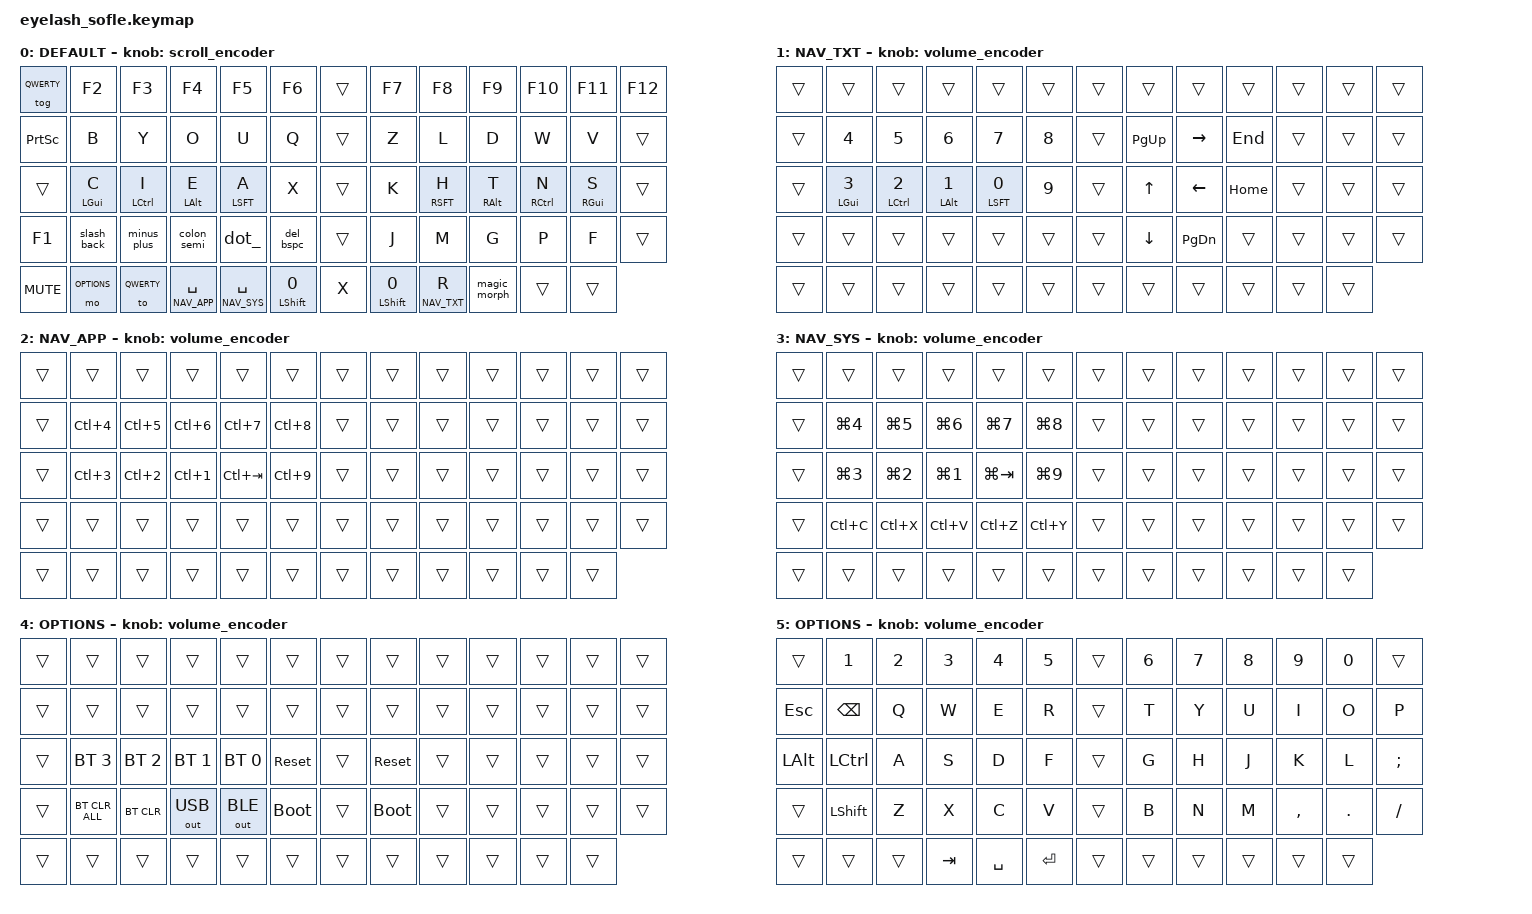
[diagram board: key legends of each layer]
#include <input/processors.dtsi>
#include <zephyr/dt-bindings/input/input-event-codes.h>
#include <behaviors.dtsi>
#include <dt-bindings/zmk/bt.h>
#include <dt-bindings/zmk/ext_power.h>
#include <dt-bindings/zmk/keys.h>
#include <dt-bindings/zmk/rgb.h>
#include <dt-bindings/zmk/outputs.h>

#define ZMK_HELPER_KEEP_NATIVE 0
#include "zmk-helpers/helper.h"
#include "joystick.dtsi"

#include "eyelash_sofle_keydefs.dtsi" // Extra key definitions following urob's setup

// - Defaults -

    #define DEFAULT 0
    #define NAV_TXT 1
    #define NAV_APP 2
    #define NAV_SYS 3
    #define OPTIONS 4
    #define QWERTY 5

    #define QUICK_TAP_MS 175
    &sk {
        release-after-ms = <900>;
        quick-release;
    };
    &sl { // Allow sticky mods to chord across sticky layers.
        ignore-modifiers;
    };
    &lt {
        flavor = "balanced";
        tapping-term-ms = <200>;
        quick-tap-ms = <QUICK_TAP_MS>;
    };
    &mt {
        flavor = "tap-preferred";
        tapping-term-ms = <220>;
        quick-tap-ms = <220>;
        hold-trigger-key-positions = <0>;
    };
    &caps_word {
        continue-list = <UNDERSCORE MINUS>;
    };
    &key_repeat {
        usage-pages = <HID_USAGE_KEY HID_USAGE_CONSUMER>;
    };

// - Setup Definitions -
// TODO: spc shift, nav combos for app nav, no magic

    // Hardcoded, on updating the keymap, the sides have to be adjusted accordingly
    #define LEFT_CHARS B Y O U Q C I E A Z
    #define LEFT_SYMBS SLASH BACKSLASH MINUS UNDERSCORE COMMA ASTERISK DOT DOUBLE_QUOTES CARET DOLLAR AMPERSAND SEMICOLON HASH AT_SIGN QUESTION PIPE EXCLAMATION PERCENT EQUAL ESCAPE
    #define RIGHT_CHARS J L D W V K H T N S X M G P F
    #define RIGHT_SYMBS TILDE COLON LEFT_BRACKET LESS_THAN SINGLE_QUOTE GRAVE PLUS LEFT_PARENTHESIS LEFT_BRACE RIGHT_BRACKET GREATER_THAN RIGHT_PARENTHESIS RIGHT_BRACE
    #define NUM_CHARS N0 N1 N2 N3 N4 N5 N6 N7 N8 N9
    #define ADAPTIVE_RESET 1200
    #define COMBO_TERM_FAST 30
    #define COMBO_TERM_SLOW 250
    #define COMBO_IDLE_FAST 30
    #define COMBO_IDLE_SLOW 150
    #define SHIFT_MORPH(NAME, BINDING1, BINDING2) \
        ZMK_MOD_MORPH(NAME, bindings = <BINDING1>, <BINDING2>; mods = <(MOD_LSFT|MOD_RSFT)>;)
    #define SHIFT_MORPH_COMBO(NAME, BINDING1, BINDING2, POSITION) \
        SHIFT_MORPH(NAME##_morph, BINDING1, BINDING2) \
        ZMK_COMBO(NAME, &NAME##_morph, POSITION, DEFAULT NAV_TXT, COMBO_TERM_SLOW, COMBO_IDLE_FAST)

    #define MAKE_HRM(NAME, HOLD, TAP, TRIGGER_POS)                                  \
        ZMK_HOLD_TAP( NAME, bindings = <HOLD>, <TAP>; flavor = "balanced";          \
                        tapping-term-ms = <200>; quick-tap-ms = <QUICK_TAP_MS>;     \
                        require-prior-idle-ms = <150>;                              \
                        hold-trigger-key-positions = <TRIGGER_POS>;                 \
                        hold-trigger-on-release;                                    \
                    )
    #define MAKE_HMT(NAME, HOLD, TAP) \
        MAKE_HRM(NAME, HOLD, TAP, KEYS_R KEYS_L KEYS_T)
    MAKE_HRM(hml, &kp, &kp, KEYS_R LB0 KEYS_T) // Left-hand HRMs, same hand mod+key for del_bspc
    MAKE_HRM(hmr, &kp, &kp, KEYS_L KEYS_T) // Right-hand HRMs
    MAKE_HRM(hmt, &mo, &kp, KEYS_R KEYS_L KEYS_T) // Tap mod, hold key

// - Layers -

    #define NUM_WORD &num_word NAV_TXT
        ZMK_AUTO_LAYER(num_word, continue-list = <NUM_CHARS SLASH MINUS COMMA DOT>; ignore-modifiers;)

    #define SPC_NAV_SYS &hmt NAV_SYS SPACE

    #define LAY_NAV_APP &hmt NAV_APP SPACE

    #define RUNE_L &hm_rune_l LSHIFT 0
        ZMK_MOD_MORPH(rune_l, bindings = <&sk LSHIFT>, <NUM_WORD>; mods = <(MOD_LSFT|MOD_RSFT)>;)
        MAKE_HRM(hm_rune_l, &kp, &rune_l, KEYS_R KEYS_L KEYS_T_R) // Tap mod, hold runic left

    SHIFT_MORPH_COMBO( spc_sft_morph, &spc_sft, &num_word_sft, LH1 LH0 )
    ZMK_MACRO(spc_sft, bindings = <&kp SPACE &sk LSHIFT>; wait-ms = <0>; tap-ms = <5>;)
    ZMK_MACRO(num_word_sft, bindings = <NUM_WORD &sk LSHIFT>; wait-ms = <0>; tap-ms = <5>;)
    
    #define R_NAV_TXT &hmt NAV_TXT R
    #define RUNE_R &hm_rune_r LSHIFT 0
        ZMK_ADAPTIVE_KEY(shift_repeat, bindings = <&key_repeat>;
            spc_sft {bindings = <&sk LSHIFT>; trigger-keys = <SPACE>; max-prior-idle-ms = <ADAPTIVE_RESET>;};
        )
        ZMK_MOD_MORPH(rune_r, bindings = <&shift_repeat>, <&shift_repeat>; mods = <(MOD_LSFT|MOD_RSFT)>;)
        MAKE_HRM(hm_rune_r, &kp, &rune_r, KEYS_R KEYS_L KEYS_T_L) // Tap key, hold runic right

    SHIFT_MORPH_COMBO(repeat_r_morph, &repeat_r, &repeat_r, RH0 RH1 )
    ZMK_ADAPTIVE_KEY(repeat_r, bindings = <&double_r>;
        tab_tab_r {bindings = <&tab_r>; trigger-keys = <TAB>; max-prior-idle-ms = <ADAPTIVE_RESET>;};
    )
    ZMK_MACRO(double_r, bindings = <&kp R &kp R>; wait-ms = <0>; tap-ms = <5>;)
    ZMK_MACRO(tab_r, bindings = <&kp TAB &kp R>; wait-ms = <0>; tap-ms = <5>;)
    
    #define MAGIC &magic_morph
        ZMK_MOD_MORPH(magic_morph, bindings = <&magic>, <&magic>; mods = <(MOD_LSFT|MOD_RSFT)>;) // no magic_shifted added
        ZMK_ADAPTIVE_KEY(magic, bindings = <&sk LSHIFT>;
            // Alpha SFBs
            r_repeat {bindings = <&kp R>; trigger-keys = <R>; max-prior-idle-ms = <ADAPTIVE_RESET>;};
            bc {bindings = <&kp C>; trigger-keys = <B>; max-prior-idle-ms = <ADAPTIVE_RESET>;}; 
            cb {bindings = <&kp B>; trigger-keys = <C>; max-prior-idle-ms = <ADAPTIVE_RESET>;}; 
            yi {bindings = <&kp I>; trigger-keys = <Y>; max-prior-idle-ms = <ADAPTIVE_RESET>;}; 
            iy {bindings = <&kp Y>; trigger-keys = <I>; max-prior-idle-ms = <ADAPTIVE_RESET>;}; 
            oe {bindings = <&kp E>; trigger-keys = <O>; max-prior-idle-ms = <ADAPTIVE_RESET>;}; 
            eo {bindings = <&kp O>; trigger-keys = <E>; max-prior-idle-ms = <ADAPTIVE_RESET>;}; 
            au {bindings = <&kp U>; trigger-keys = <A>; max-prior-idle-ms = <ADAPTIVE_RESET>;}; 
            ua {bindings = <&kp A>; trigger-keys = <U>; max-prior-idle-ms = <ADAPTIVE_RESET>;}; 
            qu {bindings = <&kp U>; trigger-keys = <Q>; max-prior-idle-ms = <ADAPTIVE_RESET>;}; 
            za {bindings = <&kp A>; trigger-keys = <Z>; max-prior-idle-ms = <ADAPTIVE_RESET>;}; 
            kl {bindings = <&kp L>; trigger-keys = <K>; max-prior-idle-ms = <ADAPTIVE_RESET>;}; 
            hm {bindings = <&kp M>; trigger-keys = <H>; max-prior-idle-ms = <ADAPTIVE_RESET>;}; 
            lk {bindings = <&kp K>; trigger-keys = <L>; max-prior-idle-ms = <ADAPTIVE_RESET>;}; 
            ml {bindings = <&kp L>; trigger-keys = <M>; max-prior-idle-ms = <ADAPTIVE_RESET>;}; 
            jk {bindings = <&kp K>; trigger-keys = <J>; max-prior-idle-ms = <ADAPTIVE_RESET>;}; 
            xm {bindings = <&kp M>; trigger-keys = <X>; max-prior-idle-ms = <ADAPTIVE_RESET>;}; 
            dg {bindings = <&kp G>; trigger-keys = <D>; max-prior-idle-ms = <ADAPTIVE_RESET>;}; 
            gt {bindings = <&kp T>; trigger-keys = <G>; max-prior-idle-ms = <ADAPTIVE_RESET>;}; 
            td {bindings = <&kp D>; trigger-keys = <T>; max-prior-idle-ms = <ADAPTIVE_RESET>;}; 
            np {bindings = <&kp P>; trigger-keys = <N>; max-prior-idle-ms = <ADAPTIVE_RESET>;}; 
            pn {bindings = <&kp N>; trigger-keys = <P>; max-prior-idle-ms = <ADAPTIVE_RESET>;}; 
            wn {bindings = <&kp N>; trigger-keys = <W>; max-prior-idle-ms = <ADAPTIVE_RESET>;}; 
            sf {bindings = <&kp F>; trigger-keys = <S>; max-prior-idle-ms = <ADAPTIVE_RESET>;}; 
            fs {bindings = <&kp S>; trigger-keys = <F>; max-prior-idle-ms = <ADAPTIVE_RESET>;}; 
            vs {bindings = <&kp S>; trigger-keys = <V>; max-prior-idle-ms = <ADAPTIVE_RESET>;}; 
            dot_spc_sft {bindings = <&sk LSHIFT>; trigger-keys = <DOT>; max-prior-idle-ms = <ADAPTIVE_RESET>;};
            quote_n {bindings = <&kp N>; trigger-keys = <SINGLE_QUOTE>; max-prior-idle-ms = <ADAPTIVE_RESET>;};
            greater_parenthesis {bindings = <&parenthesis>; trigger-keys = <GREATER_THAN>; max-prior-idle-ms = <ADAPTIVE_RESET>;};
            colon_enter {bindings = <&kp ENTER>; trigger-keys = <COLON>; max-prior-idle-ms = <ADAPTIVE_RESET>;};
            equal_parenthesis {bindings = <&paran_brace_morph>; trigger-keys = <EQUAL>; max-prior-idle-ms = <ADAPTIVE_RESET>;};
        )
        ZMK_MOD_MORPH(paran_brace_morph, bindings = <&parenthesis>, <&braces>; mods = <(MOD_LSFT|MOD_RSFT)>;)
        ZMK_MACRO(parenthesis, bindings = <&kp SPACE &kp LEFT_PARENTHESIS>; wait-ms = <0>; tap-ms = <5>;)
        ZMK_MACRO(braces, bindings = <&kp SPACE &kp LEFT_BRACE>; wait-ms = <0>; tap-ms = <5>;)

        // instead of magic shifted, have morphs for the functionality
        // ZMK_ADAPTIVE_KEY(magic_shifted, bindings = <&magic>;
        //     equal_braces {bindings = <&braces>; trigger-keys = <EQUAL>; max-prior-idle-ms = <ADAPTIVE_RESET>;};
        //     greater_braces {bindings = <&braces>; trigger-keys = <GREATER_THAN>; max-prior-idle-ms = <ADAPTIVE_RESET>;};
        // )

    SHIFT_MORPH_COMBO(spc_sft_morph, &magic_r, &magic_r, RH1 RH2 )
    ZMK_MACRO(magic_r, bindings = <&magic &kp R>; wait-ms = <0>; tap-ms = <5>;) // not 2-way

// - Symbols -

    ZMK_MOD_MORPH(del_bspc, bindings = <&kp DELETE>, <&kp BACKSPACE>; mods = <(MOD_LSFT|MOD_RSFT)>;)

    ZMK_COMBO(tab,    &kp TAB,    LB2 LB1,     DEFAULT, COMBO_TERM_SLOW, COMBO_IDLE_FAST)
    ZMK_COMBO(enter,  &kp ENTER,  LB3 LB2,     DEFAULT, COMBO_TERM_SLOW, COMBO_IDLE_FAST)

    ZMK_MACRO(ent_tab_macro, bindings = <&kp ENTER &kp TAB>; wait-ms = <0>; tap-ms = <5>;)
    ZMK_COMBO(ent_tab, &ent_tab_macro, LB3 LB2 LB1, DEFAULT, COMBO_TERM_SLOW, COMBO_IDLE_FAST)

    // LEFT-HAND SYMBOLS --- NOTE: WHEN UPDATING ALSO UPDATE ADAPTIVE KEYS SIDES
    SHIFT_MORPH(        colon_semi,         &kp COLON,               &kp SEMICOLON       )
    SHIFT_MORPH(        slash_back,         &kp SLASH,               &kp BACKSLASH      )
    SHIFT_MORPH(        minus_plus,         &kp MINUS,               &kp PLUS     )
    SHIFT_MORPH(        dot_,               &kp DOT,                 &kp DOT            )
    SHIFT_MORPH_COMBO(  dquotes_caret,      &kp DOUBLE_QUOTES,       &kp CARET,         LT3 LM3 )
    SHIFT_MORPH_COMBO(  dollar_amp,         &kp DOLLAR,              &kp AMPERSAND,     LT2 LM2 )
    SHIFT_MORPH_COMBO(  commas,             &kp COMMA,               &kp COMMA,         LT1 LM1 )
    SHIFT_MORPH_COMBO(  hash_tilde,         &kp HASH,                &kp TILDE,         LT0 LM0 )
    SHIFT_MORPH_COMBO(  question_pipe,      &kp UNDERSCORE,          &kp PIPE,          LM3 LB3 )
    SHIFT_MORPH_COMBO(  asterisks,          &kp ASTERISK,            &kp ASTERISK,      LM2 LB2 )
    SHIFT_MORPH_COMBO(  excl_question,      &kp EXCLAMATION,         &kp QUESTION,      LM1 LB1 )
    SHIFT_MORPH_COMBO(  esc_,               &kp ESCAPE,              &kp ESCAPE,        LM0 LB0 )

    // RIGHT-HAND COMBOS
    SHIFT_MORPH_COMBO(  perc_at,            &kp PERCENT,             &kp AT_SIGN,       RT0 RM0 )
    SHIFT_MORPH_COMBO(  lpar_lbrc,          &kp LEFT_PARENTHESIS,    &kp LEFT_BRACE,    RT1 RM1 )
    SHIFT_MORPH_COMBO(  rpar_rbrc,          &kp RIGHT_PARENTHESIS,   &kp RIGHT_BRACE,   RT2 RM2 )
    SHIFT_MORPH_COMBO(  squote_grave,       &kp SINGLE_QUOTE,        &kp GRAVE,         RT3 RM3 )
    SHIFT_MORPH_COMBO(  plus,               &kp PLUS,                &kp PLUS,          RM0 RB0 ) // TODO: leader key
    SHIFT_MORPH_COMBO(  eq_eq,              &kp EQUAL,               &kp EQUAL,         RM1 RB1 )
    SHIFT_MORPH_COMBO(  lbrc_lt,            &kp LEFT_BRACKET,        &kp LESS_THAN,     RM2 RB2 )
    SHIFT_MORPH_COMBO(  rbrc_gt,            &kp RIGHT_BRACKET,       &kp GREATER_THAN,  RM3 RB3 )

    // START: Added Macros for LGUI+Scroll
    ZMK_MACRO(lgui_scroll_up,
        bindings = <&macro_press &kp LGUI>,   // Press LGUI
                   <&macro_tap &msc SCRL_UP>,   // Tap Scroll Up
                   <&macro_release &kp LGUI>; // Release LGUI
    )
    ZMK_MACRO(lgui_scroll_down,
        bindings = <&macro_press &kp LGUI>,   // Press LGUI
                   <&macro_tap &msc SCRL_DOWN>, // Tap Scroll Down
                   <&macro_release &kp LGUI>; // Release LGUI
    )

/ {

    behaviours {
        num_temp: num_temp {compatible = "zmk,behavior-auto-layer"; #binding-cells = <1>; continue-list = <LEFT DOWN UP RIGHT PG_DN PG_UP>; ignore-modifiers; };
        scroll_encoder: scroll_encoder {compatible = "zmk,behavior-sensor-rotate"; #sensor-binding-cells = <0>; bindings = <&kp K_SCROLL_UP>, <&kp K_SCROLL_DOWN>; };
        volume_encoder: volume_encoder {compatible = "zmk,behavior-sensor-rotate"; #sensor-binding-cells = <0>; bindings = <&kp C_VOL_UP>, <&kp C_VOL_DN>; };
        rgb_br_encoder: rgb_br_encoder {compatible = "zmk,behavior-sensor-rotate"; #sensor-binding-cells = <0>; bindings = <&rgb_ug RGB_BRD>, <&rgb_ug RGB_BRI>; };
        zoom_encoder: zoom_encoder {compatible = "zmk,behavior-sensor-rotate"; #sensor-binding-cells = <0>; bindings = <&kp LC(MINUS)>, <&kp LC(PLUS)>; };
        nav_encoder: nav_encoder {compatible = "zmk,behavior-sensor-rotate"; #sensor-binding-cells = <0>; bindings = <&lgui_scroll_down>, <&lgui_scroll_up>; };
    };

    keymap { compatible = "zmk,keymap";

        DEFAULT { sensor-bindings = <&scroll_encoder>; display-name = "DEFAULT"; bindings = <
//╭─────────────┬─────────────┬─────────────┬─────────────┬─────────────┬─────────────╮          ╭─────────────┬─────────────┬─────────────┬─────────────┬─────────────┬─────────────╮
    &tog QWERTY   &kp F2        &kp F3        &kp F4        &kp F5        &kp F6        &trans     &kp F7        &kp F8        &kp F9        &kp F10       &kp F11       &kp F12
//├─────────────┼─────────────┼─────────────┼─────────────┼─────────────┼─────────────┤          ├─────────────┼─────────────┼─────────────┼─────────────┼─────────────┼─────────────┤
    &kp PSCRN     &kp B         &kp Y         &kp O         &kp U         &kp Q         &trans     &kp Z         &kp L         &kp D         &kp W         &kp V         &trans
//├─────────────┼─────────────┼─────────────┼─────────────┼─────────────┼─────────────┤          ├─────────────┼─────────────┼─────────────┼─────────────┼─────────────┼─────────────┤
    &trans        &hml LGUI C   &hml LCTL I   &hml LALT E   &hml LSFT A   &kp X         &trans     &kp K         &hmr RSFT H   &hmr RALT T   &hmr RCTL N   &hmr RGUI S   &trans
//├─────────────┼─────────────┼─────────────┼─────────────┼─────────────┼─────────────┤          ├─────────────┼─────────────┼─────────────┼─────────────┼─────────────┼─────────────┤
    &kp F1        &slash_back   &minus_plus   &colon_semi   &dot_         &del_bspc     &trans     &kp J         &kp M         &kp G         &kp P         &kp F         &trans
//╰─────────────┼─────────────┼─────────────┼─────────────┼─────────────┼─────────────┤          ├─────────────┼─────────────┼─────────────┼─────────────┼─────────────┼─────────────╯
    &kp C_MUTE    &mo OPTIONS   &to QWERTY    LAY_NAV_APP   SPC_NAV_SYS   RUNE_L        &kp X      RUNE_R        R_NAV_TXT     MAGIC         &trans        &trans
//              ╰─────────────┴─────────────┴─────────────┴─────────────┴─────────────╯          ╰─────────────┴─────────────┴─────────────┴─────────────┴─────────────╯
        >;};

        NAV_TXT { sensor-bindings = <&volume_encoder>; display-name = "NAV_TXT"; bindings = <
//╭─────────────┬─────────────┬─────────────┬─────────────┬─────────────┬─────────────╮          ╭─────────────┬─────────────┬─────────────┬─────────────┬─────────────┬─────────────╮
    &trans        &trans        &trans        &trans        &trans        &trans        &trans     &trans        &trans        &trans        &trans        &trans        &trans
//├─────────────┼─────────────┼─────────────┼─────────────┼─────────────┼─────────────┤          ├─────────────┼─────────────┼─────────────┼─────────────┼─────────────┼─────────────┤
    &trans        &kp N4        &kp N5        &kp N6        &kp N7        &kp N8        &trans     &kp PG_UP     &kp RIGHT     &kp END       &trans        &trans        &trans       
//├─────────────┼─────────────┼─────────────┼─────────────┼─────────────┼─────────────┤          ├─────────────┼─────────────┼─────────────┼─────────────┼─────────────┼─────────────┤
    &trans        &hml LGUI N3  &hml LCTL N2  &hml LALT N1  &hml LSFT N0  &kp N9        &trans     &kp UP        &kp LEFT      &kp HOME      &trans        &trans        &trans
//├─────────────┼─────────────┼─────────────┼─────────────┼─────────────┼─────────────┤          ├─────────────┼─────────────┼─────────────┼─────────────┼─────────────┼─────────────┤
    &trans        &trans        &trans        &trans        &trans        &trans        &trans     &kp DOWN      &kp PG_DN     &trans        &trans        &trans        &trans
//╰─────────────┼─────────────┼─────────────┼─────────────┼─────────────┼─────────────┤          ├─────────────┼─────────────┼─────────────┼─────────────┼─────────────┼─────────────╯
    &trans        &trans        &trans        &trans        &trans        &trans        &trans     &trans        &trans        &trans        &trans        &trans
//              ╰─────────────┴─────────────┴─────────────┴─────────────┴─────────────╯          ╰─────────────┴─────────────┴─────────────┴─────────────┴─────────────╯
        >;};

        NAV_APP { sensor-bindings = <&volume_encoder>; display-name = "NAV_APP"; bindings = <
//╭─────────────┬─────────────┬─────────────┬─────────────┬─────────────┬─────────────╮        ╭─────────────┬─────────────┬─────────────┬─────────────┬─────────────┬─────────────╮
    &trans        &trans        &trans        &trans        &trans        &trans        &trans   &trans        &trans        &trans        &trans        &trans        &trans
//├─────────────┼─────────────┼─────────────┼─────────────┼─────────────┼─────────────┤        ├─────────────┼─────────────┼─────────────┼─────────────┼─────────────┼─────────────┤
    &trans        &kp LC(N4)    &kp LC(N5)    &kp LC(N6)    &kp LC(N7)    &kp LC(N8)    &trans   &trans        &trans        &trans        &trans        &trans        &trans
//├─────────────┼─────────────┼─────────────┼─────────────┼─────────────┼─────────────┤        ├─────────────┼─────────────┼─────────────┼─────────────┼─────────────┼─────────────┤
    &trans        &kp LC(N3)    &kp LC(N2)    &kp LC(N1)    &kp LC(TAB)   &kp LC(N9)    &trans   &trans        &trans        &trans        &trans        &trans        &trans
//├─────────────┼─────────────┼─────────────┼─────────────┼─────────────┼─────────────┤        ├─────────────┼─────────────┼─────────────┼─────────────┼─────────────┼─────────────┤
    &trans        &trans        &trans        &trans        &trans        &trans        &trans   &trans        &trans        &trans        &trans        &trans        &trans
//╰─────────────┼─────────────┼─────────────┼─────────────┼─────────────┼─────────────┤        ├─────────────┼─────────────┼─────────────┼─────────────┼─────────────┼─────────────╯
    &trans        &trans        &trans        &trans        &trans        &trans        &trans   &trans        &trans        &trans        &trans        &trans
//              ╰─────────────┴─────────────┴─────────────┴─────────────┴─────────────╯        ╰─────────────┴─────────────┴─────────────┴─────────────┴─────────────╯
        >;};

        NAV_SYS { sensor-bindings = <&volume_encoder>; display-name = "NAV_SYS"; bindings = <
//╭─────────────┬─────────────┬─────────────┬─────────────┬─────────────┬─────────────╮        ╭─────────────┬─────────────┬─────────────┬─────────────┬─────────────┬─────────────╮
    &trans        &trans        &trans        &trans        &trans        &trans        &trans   &trans        &trans        &trans        &trans        &trans        &trans
//├─────────────┼─────────────┼─────────────┼─────────────┼─────────────┼─────────────┤        ├─────────────┼─────────────┼─────────────┼─────────────┼─────────────┼─────────────┤
    &trans        &kp LG(N4)    &kp LG(N5)    &kp LG(N6)    &kp LG(N7)    &kp LG(N8)    &trans   &trans        &trans        &trans        &trans        &trans        &trans
//├─────────────┼─────────────┼─────────────┼─────────────┼─────────────┼─────────────┤        ├─────────────┼─────────────┼─────────────┼─────────────┼─────────────┼─────────────┤
    &trans        &kp LG(N3)    &kp LG(N2)    &kp LG(N1)    &kp LG(TAB)   &kp LG(N9)    &trans   &trans        &trans        &trans        &trans        &trans        &trans
//├─────────────┼─────────────┼─────────────┼─────────────┼─────────────┼─────────────┤        ├─────────────┼─────────────┼─────────────┼─────────────┼─────────────┼─────────────┤
    &trans        &kp LC(C)     &kp LC(X)     &kp LC(V)     &kp LC(Z)     &kp LC(Y)     &trans   &trans        &trans        &trans        &trans        &trans        &trans
//╰─────────────┼─────────────┼─────────────┼─────────────┼─────────────┼─────────────┤        ├─────────────┼─────────────┼─────────────┼─────────────┼─────────────┼─────────────╯
    &trans        &trans        &trans        &trans        &trans        &trans        &trans   &trans        &trans        &trans        &trans        &trans
//              ╰─────────────┴─────────────┴─────────────┴─────────────┴─────────────╯        ╰─────────────┴─────────────┴─────────────┴─────────────┴─────────────╯
        >;};

        OPTIONS { sensor-bindings = <&volume_encoder>; display-name = "OPTIONS"; bindings = <
//╭─────────────┬─────────────┬─────────────┬─────────────┬─────────────┬─────────────╮        ╭─────────────┬─────────────┬─────────────┬─────────────┬─────────────┬─────────────╮
    &trans        &trans        &trans        &trans        &trans        &trans        &trans   &trans        &trans        &trans        &trans        &trans        &trans
//├─────────────┼─────────────┼─────────────┼─────────────┼─────────────┼─────────────┤        ├─────────────┼─────────────┼─────────────┼─────────────┼─────────────┼─────────────┤
    &trans        &trans        &trans        &trans        &trans        &trans        &trans   &trans        &trans        &trans        &trans        &trans        &trans
//├─────────────┼─────────────┼─────────────┼─────────────┼─────────────┼─────────────┤        ├─────────────┼─────────────┼─────────────┼─────────────┼─────────────┼─────────────┤
    &trans        &bt BT_SEL 3  &bt BT_SEL 2  &bt BT_SEL 1  &bt BT_SEL 0  &sys_reset    &trans   &sys_reset    &trans        &trans        &trans        &trans        &trans
//├─────────────┼─────────────┼─────────────┼─────────────┼─────────────┼─────────────┤        ├─────────────┼─────────────┼─────────────┼─────────────┼─────────────┼─────────────┤
    &trans       &bt BT_CLR_ALL &bt BT_CLR    &out OUT_USB  &out OUT_BLE  &bootloader   &trans   &bootloader   &trans        &trans        &trans        &trans        &trans
//╰─────────────┼─────────────┼─────────────┼─────────────┼─────────────┼─────────────┤        ├─────────────┼─────────────┼─────────────┼─────────────┼─────────────┼─────────────╯
    &trans        &trans        &trans        &trans        &trans        &trans        &trans   &trans        &trans        &trans        &trans        &trans
//              ╰─────────────┴─────────────┴─────────────┴─────────────┴─────────────╯        ╰─────────────┴─────────────┴─────────────┴─────────────┴─────────────╯
        >;};

        QWERTY { sensor-bindings = <&volume_encoder>; display-name = "OPTIONS"; bindings = <
//╭─────────────┬─────────────┬─────────────┬─────────────┬─────────────┬─────────────╮        ╭─────────────┬─────────────┬─────────────┬─────────────┬─────────────┬─────────────╮
    &trans        &kp N1        &kp N2        &kp N3        &kp N4        &kp N5        &trans   &kp N6        &kp N7        &kp N8        &kp N9        &kp N0        &trans
//├─────────────┼─────────────┼─────────────┼─────────────┼─────────────┼─────────────┤        ├─────────────┼─────────────┼─────────────┼─────────────┼─────────────┼─────────────┤
    &kp ESCAPE    &kp BSPC      &kp Q         &kp W         &kp E         &kp R         &trans   &kp T         &kp Y         &kp U         &kp I         &kp O         &kp P        
//├─────────────┼─────────────┼─────────────┼─────────────┼─────────────┼─────────────┤        ├─────────────┼─────────────┼─────────────┼─────────────┼─────────────┼─────────────┤
    &kp LALT      &kp LCTL      &kp A         &kp S         &kp D         &kp F         &trans   &kp G         &kp H         &kp J         &kp K         &kp L         &kp SEMI     
//├─────────────┼─────────────┼─────────────┼─────────────┼─────────────┼─────────────┤        ├─────────────┼─────────────┼─────────────┼─────────────┼─────────────┼─────────────┤
    &trans        &kp LSHIFT    &kp Z         &kp X         &kp C         &kp V         &trans   &kp B         &kp N         &kp M         &kp COMMA     &kp DOT       &kp FSLH     
//╰─────────────┼─────────────┼─────────────┼─────────────┼─────────────┼─────────────┤        ├─────────────┼─────────────┼─────────────┼─────────────┼─────────────┼─────────────╯
    &trans        &trans        &trans        &kp TAB       &kp SPACE     &kp ENTER     &trans   &trans        &trans        &trans        &trans        &trans       
//              ╰─────────────┴─────────────┴─────────────┴─────────────┴─────────────╯        ╰─────────────┴─────────────┴─────────────┴─────────────┴─────────────╯
        >;};
    };
};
